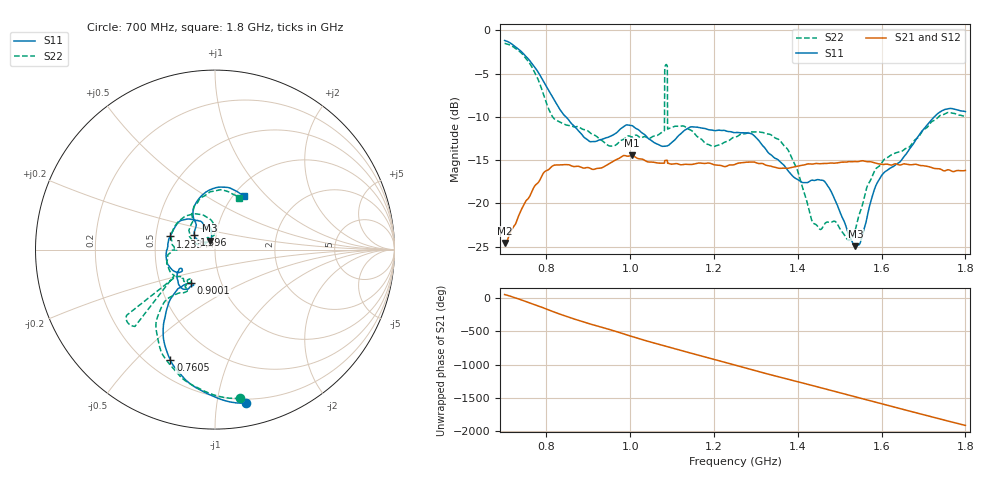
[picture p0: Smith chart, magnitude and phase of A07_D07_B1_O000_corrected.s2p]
! Created with skrf 1.9.0 (http://scikit-rf.org).
# Hz S RI R 50.0
!freq ReS11 ImS11 ReS21 ImS21 ReS12 ImS12 ReS22 ImS22
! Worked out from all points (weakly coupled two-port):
!   1601 points, 700 MHz to 1.8 GHz, reference 50 ohm
!   highest |S21| = -14.47 dB at 1.005 GHz (marker M1); lowest = -24.6 dB at 700 MHz (marker M2)
!   lowest |S11| = -25.0 dB at 1.537 GHz (marker M3), VSWR 1.12, Z = 47.2 + j4.74 ohm
!   |S11| at or under -10 dB: 846.2 MHz to 1.726 GHz (879.6 MHz wide, 68.4 % of centre)
!   |S22| runs from -24.3 to -1.5 dB; largest |S21 - S12| = 0.0037
!   S11 on the Smith chart (normalised r, x): 700 MHz: 0.17, -1.21; 760.5 MHz: 0.29, -0.64; 900.1 MHz: 0.72, -0.28; 1.233 GHz: 0.60, +0.09; 1.596 GHz: 0.79, +0.13; 1.8 GHz: 1.12, +0.75
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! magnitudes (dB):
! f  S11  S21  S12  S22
! 700 MHz  -1.2  -24.6  -24.4  -1.5
! 760.5 MHz  -3.6  -19.1  -19.0  -3.9
! 816.2 MHz  -7.8  -15.6  -15.7  -10.1
! 883.6 MHz  -12.0  -15.9  -15.8  -11.4
! 900.1 MHz  -12.8  -15.9  -15.9  -11.7
! 1.005 GHz  -11.0  -14.5  -14.6  -12.3
! 1.067 GHz  -13.2  -15.3  -15.3  -12.1
! 1.076 GHz  -13.4  -15.4  -15.4  -11.8
! 1.083 GHz  -13.4  -15.1  -15.1  -4.2
! 1.088 GHz  -13.4  -15.0  -15.0  -4.1
! 1.095 GHz  -13.2  -15.4  -15.5  -11.3
! 1.233 GHz  -11.7  -15.7  -15.6  -12.8
! 1.25 GHz  -11.8  -15.5  -15.4  -12.4
! 1.359 GHz  -15.3  -16.0  -15.9  -12.8
! 1.396 GHz  -17.2  -15.7  -15.7  -15.9
! 1.434 GHz  -17.3  -15.5  -15.4  -22.0
! 1.471 GHz  -18.0  -15.4  -15.4  -22.2
! 1.537 GHz  -25.0  -15.2  -15.2  -23.1
! 1.596 GHz  -17.1  -15.5  -15.4  -15.6
! 1.617 GHz  -16.1  -15.5  -15.5  -14.6
! 1.736 GHz  -9.5  -16.0  -16.1  -10.0
! 1.8 GHz  -9.4  -16.2  -16.2  -10.0
